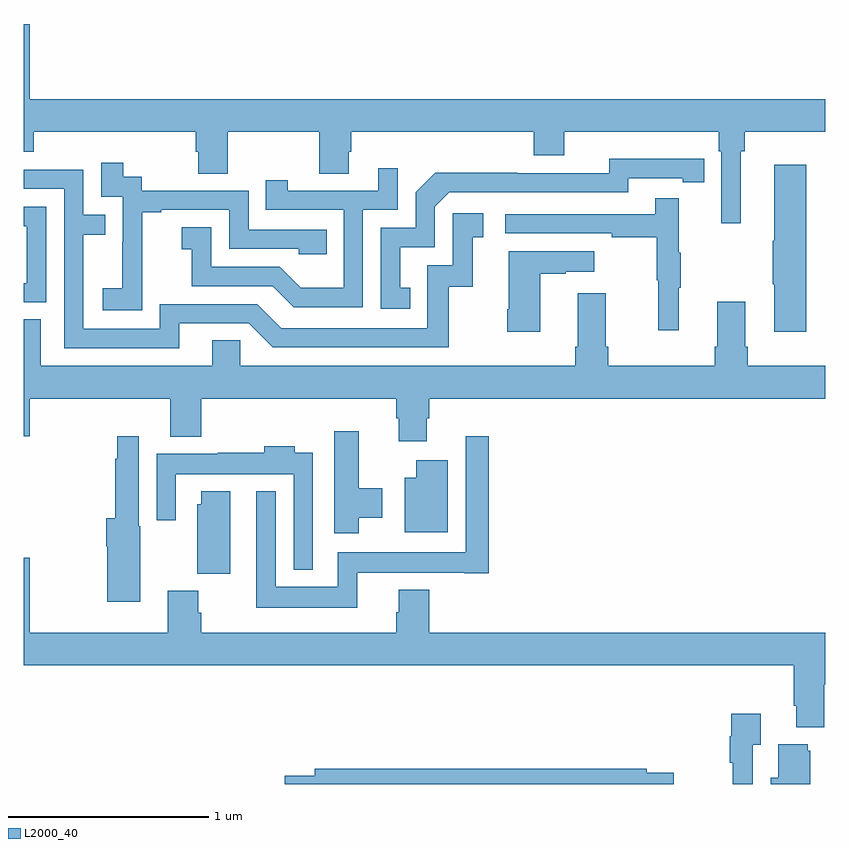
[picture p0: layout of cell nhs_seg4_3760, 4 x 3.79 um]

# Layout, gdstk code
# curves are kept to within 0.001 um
import gdstk
lib = gdstk.Library(unit=1e-6, precision=1e-09)
def P(c, l, *ps):  # polygons
    for p in ps: c.add(gdstk.Polygon(p, *l))
L2000_40 = (2000, 40)

nhs_seg4_3760 = lib.new_cell('nhs_seg4_3760')
P(nhs_seg4_3760, L2000_40, [(312.58,794.06),(312.599,794.06),(312.599,794.156),(313,794.156),(313,794.32),(309.028,794.32),(309.028,794.695),(309,794.695),(309,794.057),(309.05,794.057),(309.05,794.156),(309.857,794.156),(309.857,794.058),(309.869,794.058),(309.869,793.948),(310.017,793.948),(310.017,794.156),(310.474,794.156),(310.474,793.948),(310.621,793.948),(310.621,794.058),(310.634,794.058),(310.634,794.156),(311.546,794.156),(311.546,794.039),(311.698,794.039),(311.698,794.156),(312.47,794.156),(312.47,794.06),(312.483,794.06),(312.483,793.701),(312.58,793.701)],
  [(310.928,793.377),(310.879,793.377),(310.879,793.581),(311.052,793.581),(311.052,793.782),(311.124,793.854),(312.018,793.854),(312.018,793.926),(312.29,793.926),(312.29,793.906),(312.398,793.906),(312.398,794.022),(311.922,794.023),(311.922,793.95),(311.462,793.95),(311.462,793.952),(311.054,793.952),(310.956,793.854),(310.956,793.677),(310.782,793.677),(310.782,793.272),(310.928,793.272)],
  [(309.591,793.471),(309.59,793.471),(309.59,793.755),(309.685,793.755),(309.685,793.767),(310.026,793.767),(310.026,793.572),(310.371,793.572),(310.371,793.545),(310.511,793.545),(310.511,793.668),(310.122,793.668),(310.122,793.863),(309.588,793.863),(309.588,793.932),(309.496,793.932),(309.496,794.002),(309.387,794.002),(309.387,793.833),(309.492,793.833),(309.492,793.604),(309.491,793.604),(309.491,793.375),(309.393,793.375),(309.393,793.265),(309.591,793.265)],
  [(312.905,793.993),(312.746,793.993),(312.746,793.613),(312.739,793.613),(312.739,793.396),(312.746,793.396),(312.746,793.158),(312.905,793.158)],
  [(310.692,793.767),(310.866,793.767),(310.866,793.975),(310.769,793.975),(310.769,793.863),(310.318,793.863),(310.318,793.915),(310.207,793.915),(310.207,793.767),(310.596,793.767),(310.596,793.378),(310.382,793.378),(310.278,793.482),(309.936,793.482),(309.936,793.681),(309.789,793.681),(309.789,793.571),(309.838,793.571),(309.838,793.386),(310.241,793.386),(310.346,793.281),(310.692,793.281)],
  [(309.775,793.2),(310.122,793.2),(310.242,793.08),(311.122,793.08),(311.122,793.383),(311.24,793.383),(311.24,793.629),(311.293,793.629),(311.293,793.75),(311.142,793.75),(311.142,793.491),(311.013,793.491),(311.013,793.176),(310.284,793.176),(310.164,793.296),(309.678,793.296),(309.678,793.173),(309.297,793.173),(309.297,793.642),(309.407,793.642),(309.407,793.743),(309.297,793.743),(309.297,793.968),(309,793.968),(309,793.872),(309.201,793.872),(309.201,793.077),(309.775,793.077)],
  [(312.269,793.379),(312.28,793.379),(312.28,793.553),(312.269,793.553),(312.269,793.825),(312.151,793.825),(312.151,793.746),(311.403,793.746),(311.403,793.65),(311.935,793.65),(311.935,793.63),(312.159,793.63),(312.159,793.416),(312.166,793.416),(312.166,793.167),(312.269,793.167)],
  [(309.111,793.782),(309,793.782),(309,793.686),(309.015,793.686),(309.015,793.401),(309,793.401),(309,793.305),(309.111,793.305)],
  [(311.578,793.447),(311.705,793.447),(311.705,793.457),(311.848,793.457),(311.848,793.561),(311.42,793.561),(311.42,793.27),(311.413,793.27),(311.413,793.158),(311.578,793.158)],
  [(311.011,792.726),(311.024,792.726),(311.024,792.824),(313,792.824),(313,792.988),(312.614,792.988),(312.614,793.084),(312.601,793.084),(312.601,793.309),(312.461,793.309),(312.461,793.084),(312.449,793.084),(312.449,792.988),(311.918,792.988),(311.918,793.084),(311.905,793.084),(311.905,793.351),(311.765,793.351),(311.765,793.084),(311.753,793.084),(311.753,792.988),(310.08,792.988),(310.08,793.115),(309.941,793.115),(309.941,792.988),(309.085,792.988),(309.085,793.22),(309,793.22),(309,792.636),(309.028,792.636),(309.028,792.824),(309.731,792.824),(309.731,792.635),(309.884,792.635),(309.884,792.824),(310.859,792.824),(310.859,792.726),(310.871,792.726),(310.871,792.612),(311.011,792.612)],
  [(310.672,792.23),(310.789,792.23),(310.789,792.378),(310.672,792.378),(310.672,792.661),(310.55,792.661),(310.55,792.153),(310.672,792.153)],
  [(309.58,792.186),(309.573,792.186),(309.573,792.637),(309.465,792.637),(309.465,792.524),(309.457,792.524),(309.457,792.226),(309.41,792.226),(309.41,792.086),(309.415,792.086),(309.415,791.81),(309.58,791.81)],
  [(310.664,791.954),(311.198,791.954),(311.198,791.952),(311.321,791.952),(311.321,792.637),(311.205,792.637),(311.205,792.058),(310.566,792.058),(310.566,791.884),(310.257,791.884),(310.257,792.361),(310.16,792.361),(310.16,791.78),(310.664,791.78)],
  [(310.443,792.553),(310.351,792.553),(310.351,792.586),(310.199,792.586),(310.199,792.553),(309.967,792.553),(309.967,792.55),(309.663,792.55),(309.663,792.216),(309.759,792.216),(309.759,792.446),(310.347,792.446),(310.347,791.969),(310.443,791.969)],
  [(311.116,792.517),(310.958,792.517),(310.958,792.43),(310.901,792.43),(310.901,792.158),(311.116,792.158)],
  [(310.03,792.361),(309.884,792.361),(309.884,792.297),(309.866,792.297),(309.866,791.95),(310.03,791.95)],
  [(309.871,791.756),(309.871,791.865),(309.719,791.865),(309.719,791.656),(309.028,791.656),(309.028,792.031),(309,792.031),(309,791.492),(312.845,791.492),(312.845,791.29),(312.857,791.29),(312.857,791.183),(312.997,791.183),(312.997,791.396),(313,791.396),(313,791.656),(311.024,791.656),(311.024,791.869),(310.871,791.869),(310.871,791.757),(310.859,791.757),(310.859,791.656),(309.884,791.656),(309.884,791.756)],
  [(312.639,791.095),(312.679,791.095),(312.679,791.251),(312.531,791.251),(312.531,791.138),(312.523,791.138),(312.523,791.006),(312.538,791.006),(312.538,790.9),(312.639,790.9)],
  [(312.925,791.067),(312.914,791.067),(312.914,791.098),(312.767,791.098),(312.767,790.93),(312.728,790.93),(312.728,790.9),(312.925,790.9)],
  [(312.244,790.956),(312.11,790.956),(312.11,790.976),(310.451,790.976),(310.451,790.94),(310.302,790.94),(310.302,790.9),(312.244,790.9)])

lib.write_gds('nhs_seg4_3760.gds')
